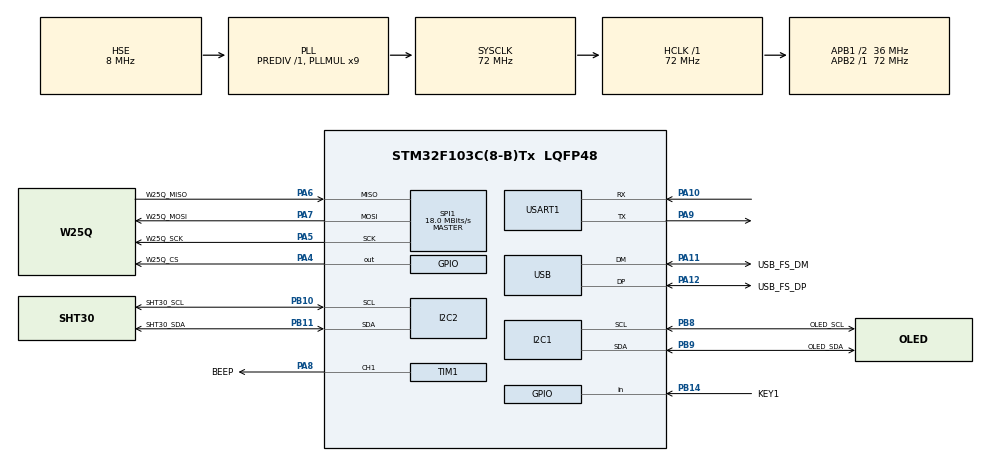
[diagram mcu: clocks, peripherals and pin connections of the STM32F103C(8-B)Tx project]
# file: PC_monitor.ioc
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Dma.Request0=USART1_RX
Dma.Request1=USART1_TX
Dma.USART1_RX.0.Direction=DMA_PERIPH_TO_MEMORY
Dma.USART1_RX.0.Instance=DMA1_Channel5
Dma.USART1_RX.0.MemDataAlignment=DMA_MDATAALIGN_BYTE
Dma.USART1_RX.0.MemInc=DMA_MINC_ENABLE
Dma.USART1_RX.0.Mode=DMA_NORMAL
Dma.USART1_RX.0.PeriphDataAlignment=DMA_PDATAALIGN_BYTE
Dma.USART1_RX.0.PeriphInc=DMA_PINC_DISABLE
Dma.USART1_RX.0.Priority=DMA_PRIORITY_LOW
Dma.USART1_TX.1.Direction=DMA_MEMORY_TO_PERIPH
Dma.USART1_TX.1.Instance=DMA1_Channel4
Dma.USART1_TX.1.MemDataAlignment=DMA_MDATAALIGN_BYTE
Dma.USART1_TX.1.MemInc=DMA_MINC_ENABLE
Dma.USART1_TX.1.Mode=DMA_NORMAL
Dma.USART1_TX.1.PeriphDataAlignment=DMA_PDATAALIGN_BYTE
Dma.USART1_TX.1.PeriphInc=DMA_PINC_DISABLE
Dma.USART1_TX.1.Priority=DMA_PRIORITY_LOW
I2C1.I2C_Mode=I2C_Fast
I2C2.I2C_Mode=I2C_Fast
Mcu.Family=STM32F1
Mcu.Name=STM32F103C(8-B)Tx
Mcu.Package=LQFP48
NVIC.DMA1_Channel4_IRQn=true\:7\:0\:true\:false\:true\:false\:true\:true
NVIC.DMA1_Channel5_IRQn=true\:7\:0\:true\:false\:true\:false\:true\:true
NVIC.PriorityGroup=NVIC_PRIORITYGROUP_4
NVIC.TIM3_IRQn=true\:15\:0\:false\:false\:true\:false\:true\:true
NVIC.TIM4_IRQn=true\:0\:0\:false\:false\:true\:true\:true\:true
NVIC.TimeBase=TIM3_IRQn
NVIC.TimeBaseIP=TIM3
NVIC.USART1_IRQn=true\:7\:0\:true\:false\:true\:true\:true\:true
NVIC.USB_LP_CAN1_RX0_IRQn=true\:6\:0\:true\:false\:true\:false\:true\:true
PA10.GPIO_PuPd=GPIO_PULLUP
PA10.Mode=Asynchronous
PA10.Signal=USART1_RX
PA11.GPIO_Label=USB_FS_DM
PA11.Mode=Device
PA11.Signal=USB_DM
PA12.GPIO_Label=USB_FS_DP
PA12.Mode=Device
PA12.Signal=USB_DP
PA13.Mode=Serial_Wire
PA13.Signal=SYS_JTMS-SWDIO
PA14.Mode=Serial_Wire
PA14.Signal=SYS_JTCK-SWCLK
PA4.GPIO_Label=W25Q_CS
PA4.Signal=GPIO_Output
PA5.GPIO_Label=W25Q_SCK
PA5.Mode=Full_Duplex_Master
PA5.Signal=SPI1_SCK
PA6.GPIO_Label=W25Q_MISO
PA6.Mode=Full_Duplex_Master
PA6.Signal=SPI1_MISO
PA7.GPIO_Label=W25Q_MOSI
PA7.Mode=Full_Duplex_Master
PA7.Signal=SPI1_MOSI
PA8.GPIO_Label=BEEP
PA8.Signal=S_TIM1_CH1
PA9.Mode=Asynchronous
PA9.Signal=USART1_TX
PB10.GPIO_Label=SHT30_SCL
PB10.Mode=I2C
PB10.Signal=I2C2_SCL
PB11.GPIO_Label=SHT30_SDA
PB11.Mode=I2C
PB11.Signal=I2C2_SDA
PB14.GPIO_Label=KEY1
PB14.GPIO_PuPd=GPIO_PULLUP
PB14.Signal=GPIO_Input
PB8.GPIO_Label=OLED_SCL
PB8.Mode=I2C
PB8.Signal=I2C1_SCL
PB9.GPIO_Label=OLED_SDA
PB9.Mode=I2C
PB9.Signal=I2C1_SDA
PC14-OSC32_IN.Mode=LSE-External-Oscillator
PC14-OSC32_IN.Signal=RCC_OSC32_IN
PC15-OSC32_OUT.Mode=LSE-External-Oscillator
PC15-OSC32_OUT.Signal=RCC_OSC32_OUT
PD0-OSC_IN.Mode=HSE-External-Oscillator
PD0-OSC_IN.Signal=RCC_OSC_IN
PD1-OSC_OUT.Mode=HSE-External-Oscillator
PD1-OSC_OUT.Signal=RCC_OSC_OUT
ProjectManager.HeapSize=0x200
ProjectManager.StackSize=0x400
ProjectManager.TargetToolchain=MDK-ARM V5.32
RCC.AHBFreq_Value=72000000
RCC.APB1CLKDivider=RCC_HCLK_DIV2
RCC.APB1Freq_Value=36000000
RCC.APB1TimFreq_Value=72000000
RCC.APB2Freq_Value=72000000
RCC.APB2TimFreq_Value=72000000
RCC.HCLKFreq_Value=72000000
RCC.PLLMUL=RCC_PLL_MUL9
RCC.PLLSourceVirtual=RCC_PLLSOURCE_HSE
RCC.RTCClockSelection=RCC_RTCCLKSOURCE_LSE
RCC.SYSCLKFreq_VALUE=72000000
RCC.SYSCLKSource=RCC_SYSCLKSOURCE_PLLCLK
RCC.USBFreq_Value=48000000
RCC.USBPrescaler=RCC_USBCLKSOURCE_PLL_DIV1_5
RTC.Date=14
RTC.Hours=17
RTC.Minutes=5
RTC.Month=RTC_MONTH_SEPTEMBER
RTC.Seconds=0
RTC.Year=26
SH.S_TIM1_CH1.0=TIM1_CH1,PWM Generation1 CH1
SPI1.BaudRatePrescaler=SPI_BAUDRATEPRESCALER_4
SPI1.CalculateBaudRate=18.0 MBits/s
SPI1.Direction=SPI_DIRECTION_2LINES
SPI1.Mode=SPI_MODE_MASTER
SPI1.VirtualType=VM_MASTER
TIM1.Channel-PWM\ Generation1\ CH1=TIM_CHANNEL_1
TIM1.Period=1000-1
TIM1.Prescaler=72-1
TIM1.Pulse-PWM\ Generation1\ CH1=500-1
TIM4.Period=1000-1
TIM4.Prescaler=72-1
USART1.VirtualMode=VM_ASYNC
USB_DEVICE.APP_RX_DATA_SIZE=512
USB_DEVICE.APP_TX_DATA_SIZE=512
USB_DEVICE.CLASS_NAME_FS=CDC
USB_DEVICE.USBD_MAX_STR_DESC_SIZ=128
USB_DEVICE.VirtualMode=Cdc
USB_DEVICE.VirtualModeFS=Cdc_FS
VP_RTC_VS_RTC_Activate.Mode=RTC_Enabled
VP_RTC_VS_RTC_Calendar.Mode=RTC_Calendar
VP_SYS_VS_tim3.Mode=TIM3
VP_TIM1_VS_ClockSourceINT.Mode=Internal
VP_TIM4_VS_ClockSourceINT.Mode=Internal
VP_USB_DEVICE_VS_USB_DEVICE_CDC_FS.Mode=CDC_FS
board=custom

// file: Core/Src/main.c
/* USER CODE BEGIN Header */
/**
  ******************************************************************************
  * @file           : main.c
  * @brief          : Main program body
  ******************************************************************************
  * @attention
  *
  * Copyright (c) 2026 STMicroelectronics.
  * All rights reserved.
  *
  * This software is licensed under terms that can be found in the LICENSE file
  * in the root directory of this software component.
  * If no LICENSE file comes with this software, it is provided AS-IS.
  *
  ******************************************************************************
  */
/* USER CODE END Header */
#include "main.h"
#include "dma.h"
#include "i2c.h"
#include "rtc.h"
#include "spi.h"
#include "tim.h"
#include "usart.h"
#include "usb_device.h"
#include "gpio.h"

/* USER CODE BEGIN Includes */
#include <stdio.h>
#include "bsp_headfiles.h"
#include "usbd_cdc_if.h"
/* FreeRTOS头文件 */
#include "FreeRTOS.h"
#include "task.h"
#include "semphr.h"
/* RTOS任务 */
#include "start_task.h"
#include "ui_task.h"
#include "usb_task.h"
/* 其他 */
#include "usb_protocol.h"
/* USER CODE END Includes */

void SystemClock_Config(void);

int main(void)
{

  /* MCU Configuration--------------------------------------------------------*/

  /* Reset of all peripherals, Initializes the Flash interface and the Systick. */
  HAL_Init();

  /* Configure the system clock */
  SystemClock_Config();

  /* Initialize all configured peripherals */
  MX_GPIO_Init();
  MX_DMA_Init();
  MX_USART1_UART_Init();
  MX_I2C1_Init();
  MX_TIM4_Init();
  MX_USB_DEVICE_Init();
  MX_SPI1_Init();
  MX_TIM1_Init();
  MX_RTC_Init();
  MX_I2C2_Init();
  /* USER CODE BEGIN 2 */
	/* 开启USART1的接收：DMA+空闲中断 */
	HAL_StatusTypeDef ret = HAL_UARTEx_ReceiveToIdle_DMA(&huart1, xUART1.BuffTemp, sizeof(xUART1.BuffTemp));
	if (ret != HAL_OK)
	{
		printf("[USART1] USART1 RX DMA start failed, ret=%d\r\n", ret);
	}
	else
	{
		printf("[USART1] RX DMA start OK\r\n");
	}
	/* FLASH初始化 */
//	W25Qxx_Init();
	/* OLED显示屏初始化	*/
	printf("[OLED] OLED init start\r\n");
	OLED_Init();
	printf("[OLED] OLED init finished.\r\n");
	/* SHT30温湿度传感器初始化 */
	SHT30_Init();
	/* 开启BeepPWM输出 */
	HAL_TIM_PWM_Start(&htim1,TIM_CHANNEL_1);
	/* 初始化UI */
	UI_Init();
	/* USB顶层协议初始化 */
	USB_Protocol_Init();
	/* 开定时中断 */
//	HAL_TIM_Base_Start_IT(&htim4);
	/* 开启FreeRTOS任务调度 */
	freertos_start();
//	/* FLASH测试 */
//	 W25Qxx_Test();
  /* USER CODE END 2 */

  /* Infinite loop */
  while (1)
  {

  }
}

void SystemClock_Config(void)
{
  RCC_OscInitTypeDef RCC_OscInitStruct = {0};
  RCC_ClkInitTypeDef RCC_ClkInitStruct = {0};
  RCC_PeriphCLKInitTypeDef PeriphClkInit = {0};

  /** Initializes the RCC Oscillators according to the specified parameters
  * in the RCC_OscInitTypeDef structure.
  */
  RCC_OscInitStruct.OscillatorType = RCC_OSCILLATORTYPE_HSE|RCC_OSCILLATORTYPE_LSE;
  RCC_OscInitStruct.HSEState = RCC_HSE_ON;
  RCC_OscInitStruct.HSEPredivValue = RCC_HSE_PREDIV_DIV1;
  RCC_OscInitStruct.LSEState = RCC_LSE_ON;
  RCC_OscInitStruct.HSIState = RCC_HSI_ON;
  RCC_OscInitStruct.PLL.PLLState = RCC_PLL_ON;
  RCC_OscInitStruct.PLL.PLLSource = RCC_PLLSOURCE_HSE;
  RCC_OscInitStruct.PLL.PLLMUL = RCC_PLL_MUL9;
  if (HAL_RCC_OscConfig(&RCC_OscInitStruct) != HAL_OK)
  {
    Error_Handler();
  }

  /** Initializes the CPU, AHB and APB buses clocks
  */
  RCC_ClkInitStruct.ClockType = RCC_CLOCKTYPE_HCLK|RCC_CLOCKTYPE_SYSCLK
                              |RCC_CLOCKTYPE_PCLK1|RCC_CLOCKTYPE_PCLK2;
  RCC_ClkInitStruct.SYSCLKSource = RCC_SYSCLKSOURCE_PLLCLK;
  RCC_ClkInitStruct.AHBCLKDivider = RCC_SYSCLK_DIV1;
  RCC_ClkInitStruct.APB1CLKDivider = RCC_HCLK_DIV2;
  RCC_ClkInitStruct.APB2CLKDivider = RCC_HCLK_DIV1;

  if (HAL_RCC_ClockConfig(&RCC_ClkInitStruct, FLASH_LATENCY_2) != HAL_OK)
  {
    Error_Handler();
  }
  PeriphClkInit.PeriphClockSelection = RCC_PERIPHCLK_RTC|RCC_PERIPHCLK_USB;
  PeriphClkInit.RTCClockSelection = RCC_RTCCLKSOURCE_LSE;
  PeriphClkInit.UsbClockSelection = RCC_USBCLKSOURCE_PLL_DIV1_5;
  if (HAL_RCCEx_PeriphCLKConfig(&PeriphClkInit) != HAL_OK)
  {
    Error_Handler();
  }
}

/* USER CODE BEGIN 4 */
//uint16_t TIM4_cnt = 0;
/* USER CODE END 4 */

void HAL_TIM_PeriodElapsedCallback(TIM_HandleTypeDef *htim)
{
  if (htim->Instance == TIM3) {
    HAL_IncTick();
  }
  /* USER CODE BEGIN Callback 1 */
//	if(htim->Instance==TIM4)
//	{
//		TIM4_cnt++;
//		if(TIM4_cnt >= 500)
//		{
//			/* 灯交替闪烁指示程序运行 */
//			TIM4_cnt = 0;
//			HAL_GPIO_TogglePin(LED1_GPIO_Port,LED1_Pin);
//		}
//		KEY_scan();
//	}
  /* USER CODE END Callback 1 */
}

void Error_Handler(void)
{
  __disable_irq();
  while (1)
  {
  }
}
